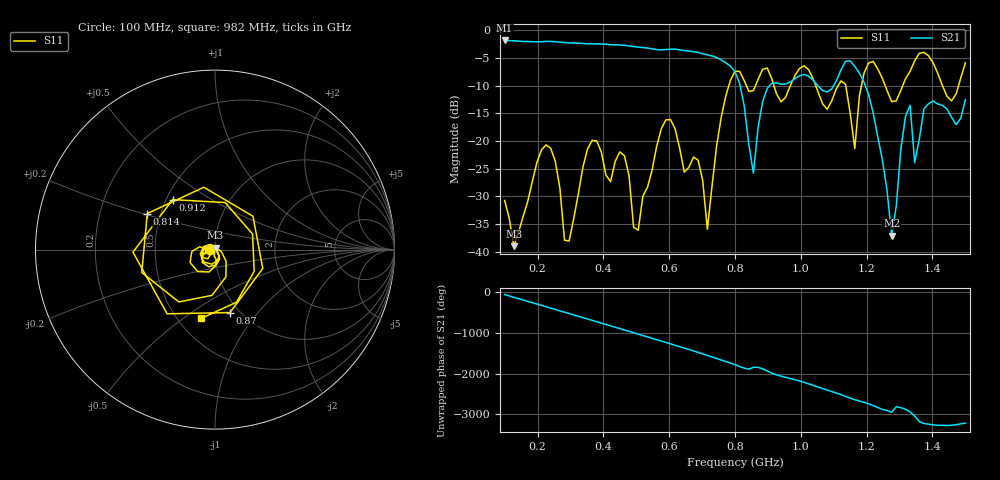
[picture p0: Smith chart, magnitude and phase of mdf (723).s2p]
! NanoVNA-App
! Date: 2025-09-25 15:44:02
! Start: 100MHz Stop: 1,5GHz Points: 101
! S-Parameter data: F S11 S21 S12 S22
# Hz S RI R 50
!  Frequency  S11_Real  S11_Imag  S21_Real  S21_Imag  S12_Real  S12_Imag  S22_Real  S22_Imag
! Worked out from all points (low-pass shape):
!   101 points, 100 MHz to 1.5 GHz, reference 50 ohm
!   highest |S21| = -1.80 dB at 100 MHz (marker M1); lowest = -37.1 dB at 1.276 GHz (marker M2)
!   |S21| within 3 dB of the highest: start of sweep to 739.5 MHz
!   lowest |S11| = -39.0 dB at 128 MHz (marker M3), VSWR 1.02, Z = 50.3 + j1.08 ohm
!   |S11| at or under -10 dB: start of sweep to 781.1 MHz; 1.045 GHz to 1.113 GHz (67.88 MHz wide, 6.29 % of centre); 1.256 GHz to 1.309 GHz (53.05 MHz wide, 4.14 % of centre) (the widest 3 of 7)
!   S12 and S22 are empty: the file has one direction only
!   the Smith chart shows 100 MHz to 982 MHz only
!   S11 on the Smith chart (normalised r, x): 100 MHz: 0.94, -0.01; 814 MHz: 0.42, +0.21; 870 MHz: 0.90, -0.73; 912 MHz: 0.54, +0.35; 982 MHz: 0.65, -0.59
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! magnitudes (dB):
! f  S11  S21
! 100 MHz  -30.7  -1.8
! 128 MHz  -39.0  -1.9
! 212 MHz  -21.6  -2.0
! 282 MHz  -37.9  -2.2
! 338 MHz  -24.7  -2.3
! 464 MHz  -22.6  -2.7
! 506 MHz  -36.1  -3.0
! 576 MHz  -17.8  -3.5
! 716 MHz  -35.9  -4.4
! 800 MHz  -7.4  -7.4
! 814 MHz  -7.4  -9.5
! 856 MHz  -10.9  -25.8
! 870 MHz  -8.9  -17.6
! 912 MHz  -8.8  -9.5
! 982 MHz  -8.2  -8.7
! 1.038 GHz  -8.8  -9.0
! 1.164 GHz  -21.3  -6.5
! 1.178 GHz  -11.8  -7.7
! 1.276 GHz  -12.9  -37.1
! 1.332 GHz  -7.4  -13.5
! 1.346 GHz  -5.5  -23.9
! 1.5 GHz  -5.9  -12.5
